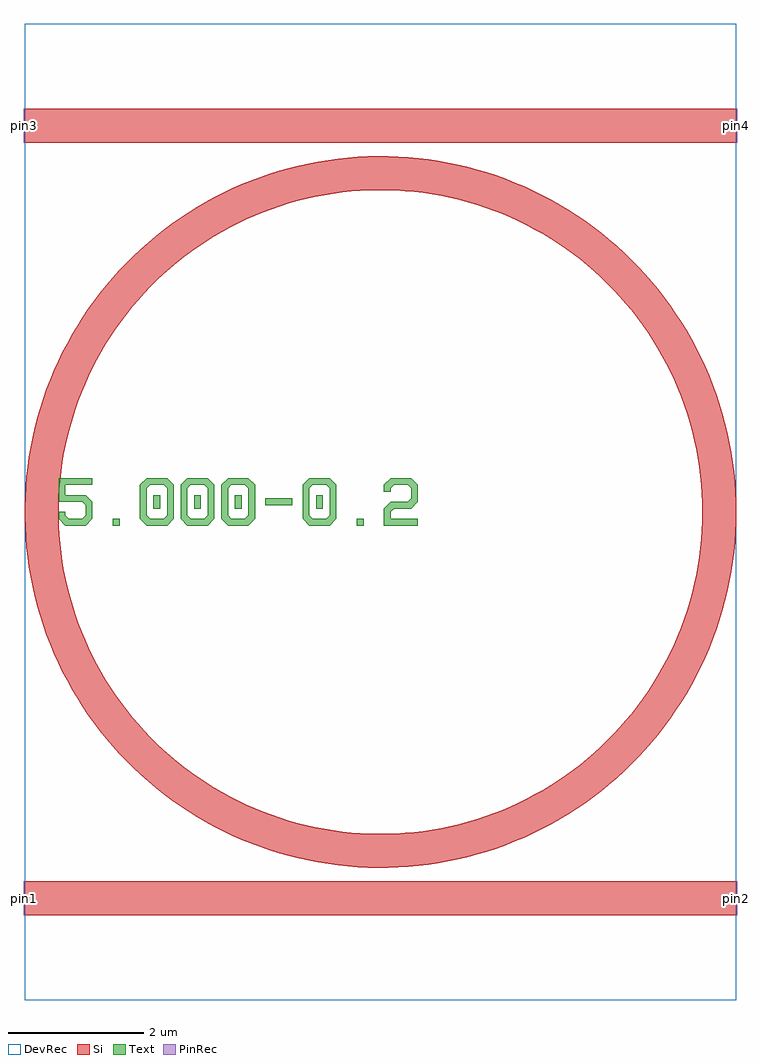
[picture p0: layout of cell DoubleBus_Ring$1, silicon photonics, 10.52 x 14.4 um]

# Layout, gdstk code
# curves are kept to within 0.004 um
import gdstk
lib = gdstk.Library(unit=1e-6, precision=1e-09)
def R(c, l, rs):  # rectangles x0, y0, x1, y1
    for r in rs: c.add(gdstk.rectangle(r[:2], r[2:], *l))
def A(c, l, x, y, w, h, nx, ny, dx, dy):  # array of equal rectangles
    R(c, l, [(x+i*dx, y+j*dy, x+i*dx+w, y+j*dy+h) for i in range(nx) for j in range(ny)])
def P(c, l, *ps):  # polygons
    for p in ps: c.add(gdstk.Polygon(p, *l))
Si = (1, 0)
PinRec = (1, 10)
Text = (10, 0)
DevRec = (68, 0)

text_2 = lib.new_cell('TEXT$2')
A(text_2, Text, 1.4, 0.25, 0.1, 0.2, 3, 1, 0.6, 0)
R(text_2, Text, [(0.8,0,0.9,0.1), (4.4,0,4.5,0.1), (3.8,0.25,3.9,0.45), (3.05,0.3,3.45,0.4)])
P(text_2, Text, [(0.1,0),(0,0.1),(0,0.2),(0.1,0.2),(0.1,0.15),(0.15,0.1),(0.35,0.1),(0.4,0.15),(0.4,0.3),(0.35,0.35),(0,0.35),(0,0.7),(0.5,0.7),(0.5,0.6),(0.1,0.6),(0.1,0.45),(0.4,0.45),(0.5,0.35),(0.5,0.1),(0.4,0)],
  [(1.3,0),(1.2,0.1),(1.2,0.6),(1.3,0.7),(1.6,0.7),(1.7,0.6),(1.35,0.6),(1.3,0.55),(1.3,0.15),(1.35,0.1),(1.55,0.1),(1.6,0.15),(1.6,0.55),(1.55,0.6),(1.7,0.6),(1.7,0.1),(1.6,0)],
  [(1.9,0),(1.8,0.1),(1.8,0.6),(1.9,0.7),(2.2,0.7),(2.3,0.6),(1.95,0.6),(1.9,0.55),(1.9,0.15),(1.95,0.1),(2.15,0.1),(2.2,0.15),(2.2,0.55),(2.15,0.6),(2.3,0.6),(2.3,0.1),(2.2,0)],
  [(2.5,0),(2.4,0.1),(2.4,0.6),(2.5,0.7),(2.8,0.7),(2.9,0.6),(2.55,0.6),(2.5,0.55),(2.5,0.15),(2.55,0.1),(2.75,0.1),(2.8,0.15),(2.8,0.55),(2.75,0.6),(2.9,0.6),(2.9,0.1),(2.8,0)],
  [(3.7,0),(3.6,0.1),(3.6,0.6),(3.7,0.7),(4,0.7),(4.1,0.6),(3.75,0.6),(3.7,0.55),(3.7,0.15),(3.75,0.1),(3.95,0.1),(4,0.15),(4,0.55),(3.95,0.6),(4.1,0.6),(4.1,0.1),(4,0)],
  [(4.8,0),(4.8,0.25),(4.9,0.35),(5.15,0.35),(5.2,0.4),(5.2,0.55),(5.15,0.6),(4.95,0.6),(4.9,0.55),(4.9,0.5),(4.8,0.5),(4.8,0.6),(4.9,0.7),(5.2,0.7),(5.3,0.6),(5.3,0.35),(5.2,0.25),(4.95,0.25),(4.9,0.2),(4.9,0.1),(5.3,0.1),(5.3,0)])

doublebus_ring_1 = lib.new_cell('DoubleBus_Ring$1')
R(doublebus_ring_1, Si, [(0,-0.25,10.5,0.25), (0,11.15,10.5,11.65)])
P(doublebus_ring_1, Si, [(5.213,0.45),(5.065,0.453),(4.77,0.472),(4.476,0.507),(4.185,0.559),(3.897,0.627),(3.755,0.667),(3.474,0.76),(3.198,0.868),(3.063,0.927),(2.798,1.058),(2.54,1.203),(2.291,1.363),(2.052,1.537),(1.822,1.724),(1.711,1.822),(1.499,2.027),(1.298,2.244),(1.109,2.472),(1.02,2.59),(0.852,2.833),(0.773,2.958),(0.625,3.215),(0.493,3.479),(0.375,3.751),(0.322,3.889),(0.228,4.169),(0.15,4.455),(0.088,4.744),(0.042,5.036),(0.013,5.33),(0.001,5.774),(0.013,6.07),(0.042,6.364),(0.088,6.656),(0.117,6.801),(0.187,7.089),(0.228,7.231),(0.322,7.511),(0.432,7.786),(0.557,8.054),(0.625,8.185),(0.773,8.442),(0.934,8.689),(1.109,8.928),(1.298,9.156),(1.397,9.266),(1.604,9.477),(1.822,9.676),(2.052,9.863),(2.17,9.952),(2.414,10.118),(2.668,10.271),(2.929,10.409),(3.063,10.473),(3.335,10.588),(3.755,10.733),(4.041,10.809),(4.33,10.869),(4.476,10.893),(4.77,10.928),(5.065,10.947),(5.361,10.949),(5.509,10.944),(5.804,10.921),(6.097,10.881),(6.387,10.825),(6.674,10.753),(6.957,10.665),(7.096,10.615),(7.37,10.503),(7.637,10.376),(7.768,10.307),(8.023,10.158),(8.27,9.995),(8.507,9.818),(8.734,9.628),(9.053,9.32),(9.251,9.1),(9.345,8.986),(9.523,8.75),(9.688,8.504),(9.766,8.378),(9.909,8.12),(10.097,7.718),(10.203,7.441),(10.293,7.16),(10.332,7.017),(10.398,6.729),(10.448,6.437),(10.467,6.29),(10.492,5.996),(10.5,5.7),(10,5.7),(9.992,5.968),(9.97,6.234),(9.908,6.631),(9.848,6.892),(9.774,7.149),(9.685,7.401),(9.582,7.648),(9.402,8.007),(9.266,8.237),(9.037,8.567),(8.87,8.776),(8.691,8.975),(8.501,9.164),(8.197,9.426),(7.982,9.586),(7.759,9.733),(7.528,9.868),(7.289,9.99),(7.045,10.098),(6.794,10.192),(6.539,10.272),(6.279,10.337),(6.016,10.388),(5.751,10.424),(5.484,10.444),(5.217,10.45),(4.949,10.44),(4.683,10.416),(4.418,10.377),(4.026,10.29),(3.769,10.213),(3.518,10.123),(3.271,10.018),(3.031,9.9),(2.685,9.698),(2.463,9.547),(2.251,9.384),(2.048,9.209),(1.856,9.023),(1.674,8.827),(1.504,8.62),(1.345,8.405),(1.199,8.18),(1.004,7.83),(0.839,7.464),(0.747,7.212),(0.669,6.956),(0.606,6.696),(0.557,6.433),(0.523,6.168),(0.5,5.767),(0.504,5.499),(0.538,5.099),(0.579,4.835),(0.636,4.573),(0.706,4.315),(0.792,4.061),(0.891,3.813),(1.004,3.57),(1.199,3.22),(1.345,2.995),(1.504,2.78),(1.674,2.573),(1.856,2.377),(2.048,2.191),(2.149,2.102),(2.251,2.016),(2.463,1.853),(2.685,1.702),(3.031,1.5),(3.271,1.382),(3.643,1.23),(4.026,1.11),(4.286,1.049),(4.418,1.023),(4.683,0.984),(4.949,0.96),(5.217,0.95),(5.618,0.964),(5.884,0.992),(6.279,1.063),(6.539,1.128),(6.92,1.253),(7.168,1.354),(7.409,1.469),(7.759,1.667),(7.982,1.814),(8.197,1.974),(8.501,2.236),(8.691,2.425),(8.87,2.624),(8.955,2.727),(9.116,2.941),(9.266,3.163),(9.402,3.393),(9.582,3.752),(9.731,4.124),(9.774,4.251),(9.848,4.508),(9.88,4.638),(9.932,4.901),(9.953,5.033),(9.983,5.299),(10,5.7),(10.5,5.7),(10.498,5.552),(10.492,5.404),(10.467,5.11),(10.425,4.817),(10.367,4.527),(10.293,4.24),(10.25,4.099),(10.152,3.82),(10.038,3.547),(9.909,3.28),(9.766,3.022),(9.523,2.65),(9.436,2.531),(9.251,2.3),(9.053,2.08),(8.843,1.872),(8.734,1.772),(8.507,1.582),(8.27,1.405),(8.023,1.242),(7.768,1.093),(7.637,1.024),(7.37,0.897),(7.096,0.785),(6.957,0.735),(6.674,0.647),(6.387,0.575),(6.097,0.519),(5.804,0.479),(5.656,0.466),(5.509,0.456)])
R(doublebus_ring_1, DevRec, [(0,-1.5,10.5,12.9)])
doublebus_ring_1.add(gdstk.FlexPath([(0.01,0),(-0.01,0)], 0.5, ends="flush", simple_path=True, layer=1, datatype=10))  # PinRec
doublebus_ring_1.add(gdstk.FlexPath([(10.49,0),(10.51,0)], 0.5, ends="flush", simple_path=True, layer=1, datatype=10))  # PinRec
doublebus_ring_1.add(gdstk.FlexPath([(0.01,11.4),(-0.01,11.4)], 0.5, ends="flush", simple_path=True, layer=1, datatype=10))  # PinRec
doublebus_ring_1.add(gdstk.FlexPath([(10.49,11.4),(10.51,11.4)], 0.5, ends="flush", simple_path=True, layer=1, datatype=10))  # PinRec
doublebus_ring_1.add(gdstk.Reference(text_2, (0.5,5.5)))
doublebus_ring_1.add(gdstk.Label('pin1', (0,0), layer=1, texttype=10))
doublebus_ring_1.add(gdstk.Label('pin2', (10.5,0), layer=1, texttype=10))
doublebus_ring_1.add(gdstk.Label('pin3', (0,11.4), layer=1, texttype=10))
doublebus_ring_1.add(gdstk.Label('pin4', (10.5,11.4), layer=1, texttype=10))

lib.write_gds('DoubleBus_Ring_1.gds')
